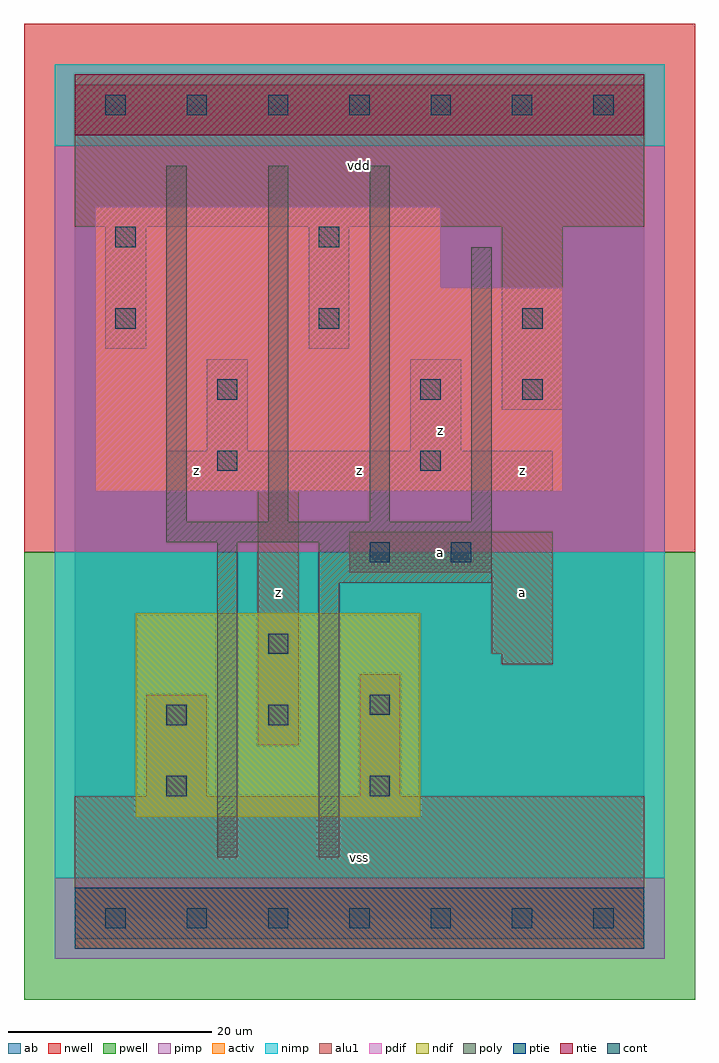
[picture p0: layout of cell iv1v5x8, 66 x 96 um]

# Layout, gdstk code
import gdstk
lib = gdstk.Library(unit=1e-6, precision=1e-09)
def R(c, l, rs):  # rectangles x0, y0, x1, y1
    for r in rs: c.add(gdstk.rectangle(r[:2], r[2:], *l))
def A(c, l, x, y, w, h, nx, ny, dx, dy):  # array of equal rectangles
    R(c, l, [(x+i*dx, y+j*dy, x+i*dx+w, y+j*dy+h) for i in range(nx) for j in range(ny)])
ndif = (3, 0)
pdif = (4, 0)
ntie = (5, 0)
ptie = (6, 0)
cont = (25, 0)
pwell = (41, 0)
nwell = (42, 0)
activ = (43, 0)
pimp = (44, 0)
nimp = (45, 0)
poly = (46, 0)
alu1 = (49, 0)
ab = (63, 0)

iv1v5x8 = lib.new_cell('iv1v5x8')
R(iv1v5x8, ndif, [(6,10,34,30)])
R(iv1v5x8, pdif, [(2,42,48,62), (2,62,36,70)])
R(iv1v5x8, ntie, [(0,77,56,83)])
R(iv1v5x8, ptie, [(0,-3,56,3)])
A(iv1v5x8, cont, 3, -1, 2, 2, 7, 2, 8, 80)
A(iv1v5x8, cont, 4, 58, 2, 2, 3, 1, 20, 0)
R(iv1v5x8, cont, [(9,12,11,14), (29,12,31,14), (9,19,11,21), (19,19,21,21), (29,20,31,22), (19,26,21,28), (29,35,31,37), (37,35,39,37), (14,44,16,46), (34,44,36,46), (14,51,16,53), (34,51,36,53), (44,51,46,53), (4,66,6,68), (24,66,26,68)])
R(iv1v5x8, pwell, [(-5,-8,61,36)])
R(iv1v5x8, nwell, [(-5,36,61,88)])
R(iv1v5x8, activ, [(0,-3,56,3), (6,10,34,30), (2,42,48,62), (2,62,36,70), (0,77,56,83)])
R(iv1v5x8, pimp, [(-2,-4,58,4), (-2,36,58,76)])
R(iv1v5x8, nimp, [(-2,4,58,36), (-2,76,58,84)])
A(iv1v5x8, poly, 9, 39, 2, 35, 3, 1, 10, 0)
R(iv1v5x8, poly, [(14,6,16,37), (24,6,26,33), (24,33,41,37), (9,37,41,39), (39,39,41,66)])
R(iv1v5x8, alu1, [(0,-2,56,12), (7,12,13,22), (28,12,32,24), (18,17,22,42), (42,25,47,26), (41,26,47,34), (27,34,47,38), (9,42,47,46), (13,46,17,55), (33,46,38,55), (42,50,48,68), (3,56,7,68), (23,56,27,68), (0,68,56,82)])
R(iv1v5x8, ab, [(0,0,56,80)])
iv1v5x8.add(gdstk.Label('z', (20,32), layer=49, texttype=0))
iv1v5x8.add(gdstk.Label('z', (12,44), layer=49, texttype=0))
iv1v5x8.add(gdstk.Label('vss', (28,6), layer=49, texttype=0))
iv1v5x8.add(gdstk.Label('a', (36,36), layer=49, texttype=0))
iv1v5x8.add(gdstk.Label('z', (28,44), layer=49, texttype=0))
iv1v5x8.add(gdstk.Label('z', (36,48), layer=49, texttype=0))
iv1v5x8.add(gdstk.Label('vdd', (28,74), layer=49, texttype=0))
iv1v5x8.add(gdstk.Label('a', (44,32), layer=49, texttype=0))
iv1v5x8.add(gdstk.Label('z', (44,44), layer=49, texttype=0))

lib.write_gds('iv1v5x8.gds')
